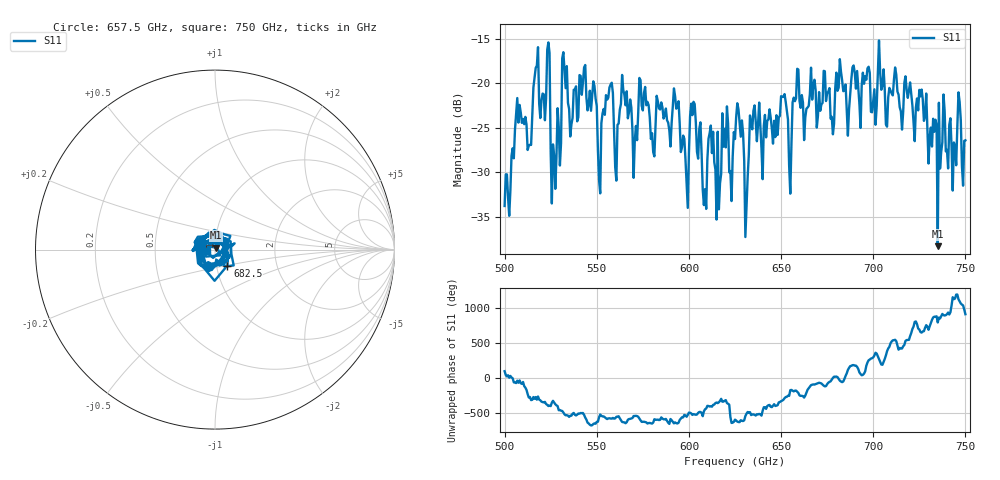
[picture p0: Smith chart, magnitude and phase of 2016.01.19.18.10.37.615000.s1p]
!Created with skrf (http://scikit-rf.org).
# GHz S RI R 50.0
!freq ReS11 ImS11
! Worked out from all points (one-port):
!   401 points, 500 GHz to 750 GHz, reference 50 ohm
!   lowest |S11| = -38.3 dB at 735 GHz (marker M1), VSWR 1.02, Z = 50.4 + j1.17 ohm
!   |S11| at or under -10 dB: start of sweep to end of sweep
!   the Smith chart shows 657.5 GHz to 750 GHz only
!   S11 on the Smith chart (normalised r, x): 657.5 GHz: 0.85, +0.01; 682.5 GHz: 1.13, -0.21; 750 GHz: 0.91, -0.01
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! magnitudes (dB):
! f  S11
! 500 GHz  -33.8
! 507.5 GHz  -24.4
! 513.8 GHz  -26.9
! 516.9 GHz  -18.3
! 523.8 GHz  -15.4
! 526.2 GHz  -26.9
! 531.2 GHz  -17.2
! 542.5 GHz  -19.9
! 551.9 GHz  -32.3
! 556.2 GHz  -21.6
! 560.6 GHz  -30.9
! 562.5 GHz  -23.0
! 593.8 GHz  -22.6
! 598.8 GHz  -31.2
! 602.5 GHz  -22.1
! 608.8 GHz  -31.9
! 611.9 GHz  -24.7
! 616.2 GHz  -34.1
! 625 GHz  -26.3
! 631.2 GHz  -33.8
! 634.4 GHz  -25.2
! 656.2 GHz  -22.1
! 657.5 GHz  -22.0
! 682.5 GHz  -18.7
! 687.5 GHz  -21.2
! 718.8 GHz  -21.6
! 735 GHz  -38.3
! 750 GHz  -26.4
